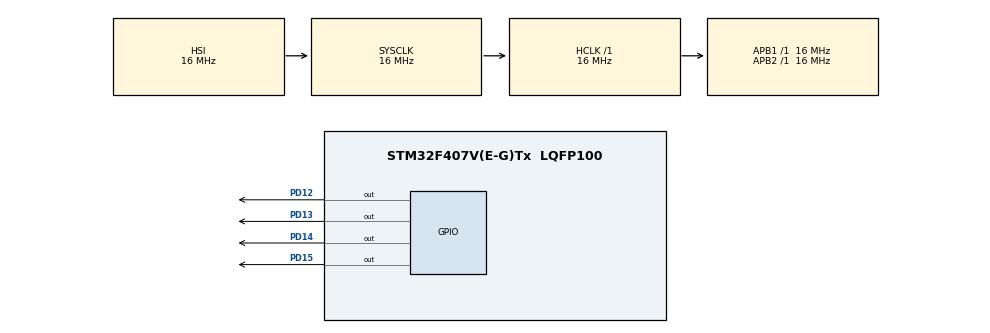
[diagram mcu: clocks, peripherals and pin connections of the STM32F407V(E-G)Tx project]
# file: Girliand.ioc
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Mcu.Family=STM32F4
Mcu.Name=STM32F407V(E-G)Tx
Mcu.Package=LQFP100
NVIC.PriorityGroup=NVIC_PRIORITYGROUP_4
PD12.Signal=GPIO_Output
PD13.Signal=GPIO_Output
PD14.Signal=GPIO_Output
PD15.Signal=GPIO_Output
ProjectManager.HeapSize=0x200
ProjectManager.StackSize=0x400
ProjectManager.TargetToolchain=STM32CubeIDE
RCC.AHBFreq_Value=16000000
RCC.APB1Freq_Value=16000000
RCC.APB2Freq_Value=16000000
RCC.CortexFreq_Value=16000000
RCC.HSE_VALUE=25000000
RCC.HSI_VALUE=16000000
RCC.LSE_VALUE=32768
RCC.SYSCLKFreq_VALUE=16000000
RCC.VCOOutputFreq_Value=192000000
board=custom

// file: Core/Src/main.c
/* USER CODE BEGIN Header */
/**
  ******************************************************************************
  * @file           : main.c
  * @brief          : Main program body
  ******************************************************************************
  * @attention
  *
  * Copyright (c) 2026 STMicroelectronics.
  * All rights reserved.
  *
  * This software is licensed under terms that can be found in the LICENSE file
  * in the root directory of this software component.
  * If no LICENSE file comes with this software, it is provided AS-IS.
  *
  ******************************************************************************
  */
/* USER CODE END Header */
#include "main.h"

void SystemClock_Config(void);
static void MX_GPIO_Init(void);

/* USER CODE BEGIN 0 */

void showLetter(uint16_t pin, uint8_t count)
{
    for (uint8_t i = 0; i < count; i++)
    {
        HAL_GPIO_WritePin(GPIOD, pin, GPIO_PIN_SET);
        HAL_Delay(300);

        HAL_GPIO_WritePin(GPIOD, pin, GPIO_PIN_RESET);
        HAL_Delay(300);
    }

    // Пауза між літерами
    HAL_Delay(500);
}

/* USER CODE END 0 */

int main(void)
{

  /* MCU Configuration--------------------------------------------------------*/

  /* Reset of all peripherals, Initializes the Flash interface and the Systick. */
  HAL_Init();

  /* Configure the system clock */
  SystemClock_Config();

  /* Initialize all configured peripherals */
  MX_GPIO_Init();

  /* Infinite loop */
  /* USER CODE BEGIN WHILE */

  while (1)
  {
      // ДЯКУЮ
      showLetter(GPIO_PIN_14, 1); // Д — червоний, 1
      showLetter(GPIO_PIN_15, 2); // Я — синій, 2
      showLetter(GPIO_PIN_12, 3); // К — зелений, 3
      showLetter(GPIO_PIN_13, 1); // У — помаранчевий, 1
      showLetter(GPIO_PIN_14, 2); // Ю — червоний, 2

      // Пауза між словами
      HAL_Delay(1500);

      // ЗСУ
      showLetter(GPIO_PIN_15, 3); // З — синій, 3
      showLetter(GPIO_PIN_12, 1); // С — зелений, 1
      showLetter(GPIO_PIN_13, 1); // У — помаранчевий, 1

      // Пауза перед повторенням повідомлення
      HAL_Delay(2500);
  }

    /* USER CODE END WHILE */

  }

void SystemClock_Config(void)
{
  RCC_OscInitTypeDef RCC_OscInitStruct = {0};
  RCC_ClkInitTypeDef RCC_ClkInitStruct = {0};

  /** Configure the main internal regulator output voltage
  */
  __HAL_RCC_PWR_CLK_ENABLE();
  __HAL_PWR_VOLTAGESCALING_CONFIG(PWR_REGULATOR_VOLTAGE_SCALE1);

  /** Initializes the RCC Oscillators according to the specified parameters
  * in the RCC_OscInitTypeDef structure.
  */
  RCC_OscInitStruct.OscillatorType = RCC_OSCILLATORTYPE_HSI;
  RCC_OscInitStruct.HSIState = RCC_HSI_ON;
  RCC_OscInitStruct.HSICalibrationValue = RCC_HSICALIBRATION_DEFAULT;
  RCC_OscInitStruct.PLL.PLLState = RCC_PLL_NONE;
  if (HAL_RCC_OscConfig(&RCC_OscInitStruct) != HAL_OK)
  {
    Error_Handler();
  }

  /** Initializes the CPU, AHB and APB buses clocks
  */
  RCC_ClkInitStruct.ClockType = RCC_CLOCKTYPE_HCLK|RCC_CLOCKTYPE_SYSCLK
                              |RCC_CLOCKTYPE_PCLK1|RCC_CLOCKTYPE_PCLK2;
  RCC_ClkInitStruct.SYSCLKSource = RCC_SYSCLKSOURCE_HSI;
  RCC_ClkInitStruct.AHBCLKDivider = RCC_SYSCLK_DIV1;
  RCC_ClkInitStruct.APB1CLKDivider = RCC_HCLK_DIV1;
  RCC_ClkInitStruct.APB2CLKDivider = RCC_HCLK_DIV1;

  if (HAL_RCC_ClockConfig(&RCC_ClkInitStruct, FLASH_LATENCY_0) != HAL_OK)
  {
    Error_Handler();
  }
}

static void MX_GPIO_Init(void)
{
  GPIO_InitTypeDef GPIO_InitStruct = {0};

  /* GPIO Ports Clock Enable */
  __HAL_RCC_GPIOD_CLK_ENABLE();

  /*Configure GPIO pin Output Level */
  HAL_GPIO_WritePin(GPIOD, GPIO_PIN_12|GPIO_PIN_13|GPIO_PIN_14|GPIO_PIN_15, GPIO_PIN_RESET);

  /*Configure GPIO pins : PD12 PD13 PD14 PD15 */
  GPIO_InitStruct.Pin = GPIO_PIN_12|GPIO_PIN_13|GPIO_PIN_14|GPIO_PIN_15;
  GPIO_InitStruct.Mode = GPIO_MODE_OUTPUT_PP;
  GPIO_InitStruct.Pull = GPIO_NOPULL;
  GPIO_InitStruct.Speed = GPIO_SPEED_FREQ_LOW;
  HAL_GPIO_Init(GPIOD, &GPIO_InitStruct);

}

void Error_Handler(void)
{
  __disable_irq();
  while (1)
  {
  }
}
